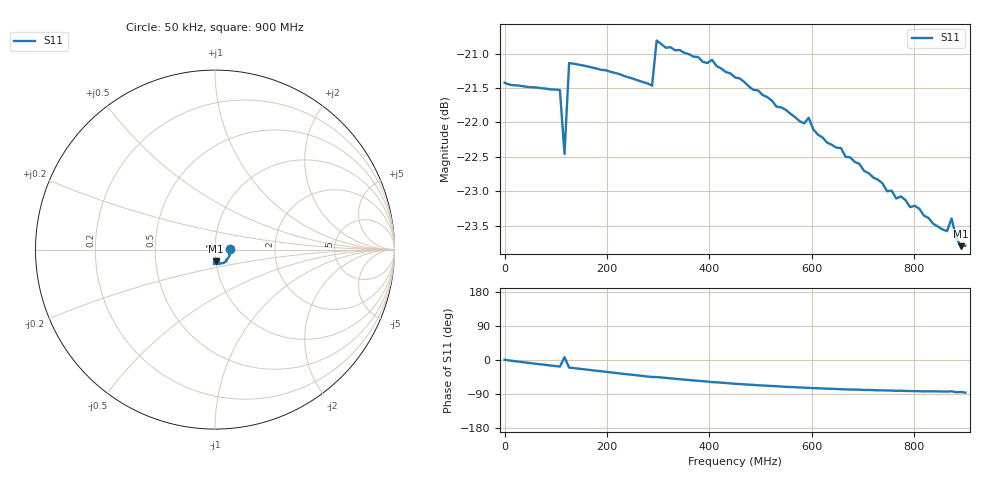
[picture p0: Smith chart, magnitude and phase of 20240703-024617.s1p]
# HZ S RI R 50
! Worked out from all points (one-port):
!   101 points, 50 kHz to 900 MHz, reference 50 ohm
!   lowest |S11| = -23.8 dB at 891 MHz (marker M1), VSWR 1.14, Z = 50.2 - j6.48 ohm
!   |S11| at or under -10 dB: start of sweep to end of sweep
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50000  0.0849 0.000894
1.08044e8  0.08 -0.025
1.170435e8  0.0747 0.00967
1.26043e8  0.0824 -0.03
2.250375e8  0.0702 -0.0498
2.88034e8  0.0599 -0.0596
2.970335e8  0.0643 -0.0646
3.150325e8  0.0611 -0.0661
3.42031e8  0.057 -0.0692
3.870285e8  0.0494 -0.0727
4.050275e8  0.0464 -0.0751
4.50025e8  0.0392 -0.0761
5.670185e8  0.025 -0.0761
5.850175e8  0.0234 -0.0758
5.94017e8  0.0227 -0.0768
6.12016e8  0.0207 -0.075
6.750125e8  0.0158 -0.0732
7.56008e8  0.0116 -0.0699
7.650075e8  0.0105 -0.0691
7.830065e8  0.0103 -0.069
7.92006e8  0.00956 -0.0683
8.10005e8  0.00904 -0.0682
8.370035e8  0.0085 -0.0665
8.64002e8  0.00757 -0.0658
8.730015e8  0.00876 -0.0671
8.82001e8  0.00558 -0.0653
8.910005e8  0.00629 -0.0643
9e8  0.00452 -0.0645
